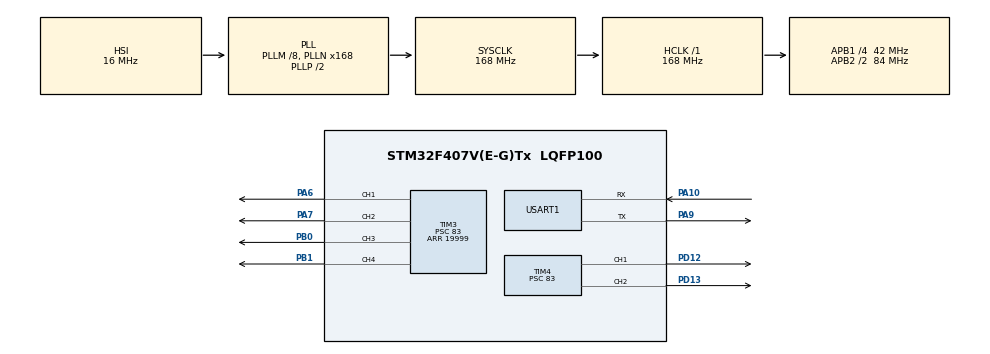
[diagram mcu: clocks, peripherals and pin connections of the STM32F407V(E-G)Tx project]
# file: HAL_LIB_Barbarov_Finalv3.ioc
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Mcu.Family=STM32F4
Mcu.Name=STM32F407V(E-G)Tx
Mcu.Package=LQFP100
NVIC.PriorityGroup=NVIC_PRIORITYGROUP_4
NVIC.USART1_IRQn=true\:0\:0\:false\:false\:true\:true\:true
PA10.Mode=Asynchronous
PA10.Signal=USART1_RX
PA6.Signal=S_TIM3_CH1
PA7.Signal=S_TIM3_CH2
PA9.Mode=Asynchronous
PA9.Signal=USART1_TX
PB0.Signal=S_TIM3_CH3
PB1.Signal=S_TIM3_CH4
PD12.Signal=S_TIM4_CH1
PD13.Signal=S_TIM4_CH2
ProjectManager.HeapSize=0x200
ProjectManager.StackSize=0x400
ProjectManager.TargetToolchain=STM32CubeIDE
RCC.48MHZClocksFreq_Value=84000000
RCC.AHBFreq_Value=168000000
RCC.APB1CLKDivider=RCC_HCLK_DIV4
RCC.APB1Freq_Value=42000000
RCC.APB1TimFreq_Value=84000000
RCC.APB2CLKDivider=RCC_HCLK_DIV2
RCC.APB2Freq_Value=84000000
RCC.APB2TimFreq_Value=168000000
RCC.CortexFreq_Value=168000000
RCC.HCLKFreq_Value=168000000
RCC.HSE_VALUE=25000000
RCC.HSI_VALUE=16000000
RCC.LSE_VALUE=32768
RCC.PLLM=8
RCC.PLLN=168
RCC.SYSCLKFreq_VALUE=168000000
RCC.SYSCLKSource=RCC_SYSCLKSOURCE_PLLCLK
RCC.VCOOutputFreq_Value=336000000
SH.S_TIM3_CH1.0=TIM3_CH1,PWM Generation1 CH1
SH.S_TIM3_CH2.0=TIM3_CH2,PWM Generation2 CH2
SH.S_TIM3_CH3.0=TIM3_CH3,PWM Generation3 CH3
SH.S_TIM3_CH4.0=TIM3_CH4,PWM Generation4 CH4
SH.S_TIM4_CH1.0=TIM4_CH1,PWM Generation1 CH1
SH.S_TIM4_CH2.0=TIM4_CH2,PWM Generation2 CH2
TIM3.Channel-PWM\ Generation1\ CH1=TIM_CHANNEL_1
TIM3.Channel-PWM\ Generation2\ CH2=TIM_CHANNEL_2
TIM3.Channel-PWM\ Generation3\ CH3=TIM_CHANNEL_3
TIM3.Channel-PWM\ Generation4\ CH4=TIM_CHANNEL_4
TIM3.Period=19999
TIM3.Prescaler=83
TIM4.Channel-PWM\ Generation1\ CH1=TIM_CHANNEL_1
TIM4.Channel-PWM\ Generation2\ CH2=TIM_CHANNEL_2
TIM4.Period=19999
TIM4.Prescaler=83
USART1.VirtualMode=VM_ASYNC
board=custom

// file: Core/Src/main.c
/* USER CODE BEGIN Header */
/**
  ******************************************************************************
  * @file           : main.c
  * @brief          : Main program body
  ******************************************************************************
  * @attention
  *
  * Copyright (c) 2022 STMicroelectronics.
  * All rights reserved.
  *
  * This software is licensed under terms that can be found in the LICENSE file
  * in the root directory of this software component.
  * If no LICENSE file comes with this software, it is provided AS-IS.
  *
  ******************************************************************************
  */
/* USER CODE END Header */
#include "main.h"

/* USER CODE BEGIN Includes */
#include "stdlib.h"
#include "string.h"
/* USER CODE END Includes */

TIM_HandleTypeDef htim3;
TIM_HandleTypeDef htim4;

UART_HandleTypeDef huart1;

/* USER CODE BEGIN PV */
uint8_t test;
int donusum,degisken;
char gelen[8],mod[1];
/* USER CODE END PV */

void SystemClock_Config(void);
static void MX_GPIO_Init(void);
static void MX_TIM3_Init(void);
static void MX_TIM4_Init(void);
static void MX_USART1_UART_Init(void);

/* USER CODE BEGIN 0 */
void dur1(){
	__HAL_TIM_SET_COMPARE(&htim3, TIM_CHANNEL_1, 1500);
	__HAL_TIM_SET_COMPARE(&htim3, TIM_CHANNEL_2, 1500);
	__HAL_TIM_SET_COMPARE(&htim3, TIM_CHANNEL_3, 1500);
	__HAL_TIM_SET_COMPARE(&htim3, TIM_CHANNEL_4, 1500);
	__HAL_TIM_SET_COMPARE(&htim4, TIM_CHANNEL_1, 1500);
	__HAL_TIM_SET_COMPARE(&htim4, TIM_CHANNEL_2, 1500);
	}
void ilr1(){
	donusum = atoi(gelen);
	__HAL_TIM_SET_COMPARE(&htim3, TIM_CHANNEL_1, 1500-abs(1500-donusum));
	__HAL_TIM_SET_COMPARE(&htim3, TIM_CHANNEL_2, donusum);
	__HAL_TIM_SET_COMPARE(&htim3, TIM_CHANNEL_3, 1500-abs(1500-donusum));
	__HAL_TIM_SET_COMPARE(&htim3, TIM_CHANNEL_4, donusum);
	__HAL_TIM_SET_COMPARE(&htim4, TIM_CHANNEL_1, 1500);
	__HAL_TIM_SET_COMPARE(&htim4, TIM_CHANNEL_2, 1500);
}
void ger1(){
	donusum = atoi(gelen);
	__HAL_TIM_SET_COMPARE(&htim3, TIM_CHANNEL_1, donusum);
	__HAL_TIM_SET_COMPARE(&htim3, TIM_CHANNEL_2, 1500-abs(1500-donusum));
	__HAL_TIM_SET_COMPARE(&htim3, TIM_CHANNEL_3, donusum);
	__HAL_TIM_SET_COMPARE(&htim3, TIM_CHANNEL_4, 1500-abs(1500-donusum));
	__HAL_TIM_SET_COMPARE(&htim4, TIM_CHANNEL_1, 1500);
	__HAL_TIM_SET_COMPARE(&htim4, TIM_CHANNEL_2, 1500);
}
void ykr1(){
	donusum = atoi(gelen);
	__HAL_TIM_SET_COMPARE(&htim3, TIM_CHANNEL_1, 1500);
	__HAL_TIM_SET_COMPARE(&htim3, TIM_CHANNEL_2, 1500);
	__HAL_TIM_SET_COMPARE(&htim3, TIM_CHANNEL_3, 1500);
	__HAL_TIM_SET_COMPARE(&htim3, TIM_CHANNEL_4, 1500);
	__HAL_TIM_SET_COMPARE(&htim4, TIM_CHANNEL_1, 1500-abs(1500-donusum));
	__HAL_TIM_SET_COMPARE(&htim4, TIM_CHANNEL_2, 1500-abs(1500-donusum));
}
void asg1(){
	donusum = atoi(gelen);
	__HAL_TIM_SET_COMPARE(&htim3, TIM_CHANNEL_1, 1500);
	__HAL_TIM_SET_COMPARE(&htim3, TIM_CHANNEL_2, 1500);
	__HAL_TIM_SET_COMPARE(&htim3, TIM_CHANNEL_3, 1500);
	__HAL_TIM_SET_COMPARE(&htim3, TIM_CHANNEL_4, 1500);
	__HAL_TIM_SET_COMPARE(&htim4, TIM_CHANNEL_1, donusum);
	__HAL_TIM_SET_COMPARE(&htim4, TIM_CHANNEL_2, donusum);
}
void sag1(){
	donusum = atoi(gelen);
	__HAL_TIM_SET_COMPARE(&htim3, TIM_CHANNEL_1, donusum);
	__HAL_TIM_SET_COMPARE(&htim3, TIM_CHANNEL_2, donusum);
	__HAL_TIM_SET_COMPARE(&htim3, TIM_CHANNEL_3, 1500-abs(1500-donusum));
	__HAL_TIM_SET_COMPARE(&htim3, TIM_CHANNEL_4, 1500-abs(1500-donusum));
	__HAL_TIM_SET_COMPARE(&htim4, TIM_CHANNEL_1, 1500);
	__HAL_TIM_SET_COMPARE(&htim4, TIM_CHANNEL_2, 1500);
}
void sol1(){
	donusum = atoi(gelen);
	__HAL_TIM_SET_COMPARE(&htim3, TIM_CHANNEL_1, 1500-abs(1500-donusum));
	__HAL_TIM_SET_COMPARE(&htim3, TIM_CHANNEL_2, 1500-abs(1500-donusum));
	__HAL_TIM_SET_COMPARE(&htim3, TIM_CHANNEL_3, donusum);
	__HAL_TIM_SET_COMPARE(&htim3, TIM_CHANNEL_4, donusum);
	__HAL_TIM_SET_COMPARE(&htim4, TIM_CHANNEL_1, 1500);
	__HAL_TIM_SET_COMPARE(&htim4, TIM_CHANNEL_2, 1500);
}
void dur2(){
	__HAL_TIM_SET_COMPARE(&htim3, TIM_CHANNEL_1, 1500);
	__HAL_TIM_SET_COMPARE(&htim3, TIM_CHANNEL_2, 1500);
	__HAL_TIM_SET_COMPARE(&htim3, TIM_CHANNEL_3, 1500);
	__HAL_TIM_SET_COMPARE(&htim3, TIM_CHANNEL_4, 1500);
	__HAL_TIM_SET_COMPARE(&htim4, TIM_CHANNEL_1, 1500);
	__HAL_TIM_SET_COMPARE(&htim4, TIM_CHANNEL_2, 1500);
	}
void ilr2(){
	donusum = atoi(gelen);
	__HAL_TIM_SET_COMPARE(&htim3, TIM_CHANNEL_1, 1500-abs(1500-donusum));
	__HAL_TIM_SET_COMPARE(&htim3, TIM_CHANNEL_2, donusum);
	__HAL_TIM_SET_COMPARE(&htim3, TIM_CHANNEL_3, 1500-abs(1500-donusum));
	__HAL_TIM_SET_COMPARE(&htim3, TIM_CHANNEL_4, donusum);
	__HAL_TIM_SET_COMPARE(&htim4, TIM_CHANNEL_1, 1550);
	__HAL_TIM_SET_COMPARE(&htim4, TIM_CHANNEL_2, 1550);
}
void ger2(){
	donusum = atoi(gelen);
	__HAL_TIM_SET_COMPARE(&htim3, TIM_CHANNEL_1, donusum);
	__HAL_TIM_SET_COMPARE(&htim3, TIM_CHANNEL_2, 1500-abs(1500-donusum));
	__HAL_TIM_SET_COMPARE(&htim3, TIM_CHANNEL_3, donusum);
	__HAL_TIM_SET_COMPARE(&htim3, TIM_CHANNEL_4, 1500-abs(1500-donusum));
	__HAL_TIM_SET_COMPARE(&htim4, TIM_CHANNEL_1, 1550);
	__HAL_TIM_SET_COMPARE(&htim4, TIM_CHANNEL_2, 1550);
}
void ykr2(){
	donusum = atoi(gelen);
	__HAL_TIM_SET_COMPARE(&htim3, TIM_CHANNEL_1, 1500);
	__HAL_TIM_SET_COMPARE(&htim3, TIM_CHANNEL_2, 1500);
	__HAL_TIM_SET_COMPARE(&htim3, TIM_CHANNEL_3, 1500);
	__HAL_TIM_SET_COMPARE(&htim3, TIM_CHANNEL_4, 1500);
	__HAL_TIM_SET_COMPARE(&htim4, TIM_CHANNEL_1, 1500-abs(1500-donusum));
	__HAL_TIM_SET_COMPARE(&htim4, TIM_CHANNEL_2, 1500-abs(1500-donusum));
}
void asg2(){
	donusum = atoi(gelen);
	__HAL_TIM_SET_COMPARE(&htim3, TIM_CHANNEL_1, 1500);
	__HAL_TIM_SET_COMPARE(&htim3, TIM_CHANNEL_2, 1500);
	__HAL_TIM_SET_COMPARE(&htim3, TIM_CHANNEL_3, 1500);
	__HAL_TIM_SET_COMPARE(&htim3, TIM_CHANNEL_4, 1500);
	__HAL_TIM_SET_COMPARE(&htim4, TIM_CHANNEL_1, donusum);
	__HAL_TIM_SET_COMPARE(&htim4, TIM_CHANNEL_2, donusum);
}
void sag2(){
	donusum = atoi(gelen);
	__HAL_TIM_SET_COMPARE(&htim3, TIM_CHANNEL_1, donusum);
	__HAL_TIM_SET_COMPARE(&htim3, TIM_CHANNEL_2, donusum);
	__HAL_TIM_SET_COMPARE(&htim3, TIM_CHANNEL_3, 1500-abs(1500-donusum));
	__HAL_TIM_SET_COMPARE(&htim3, TIM_CHANNEL_4, 1500-abs(1500-donusum));
	__HAL_TIM_SET_COMPARE(&htim4, TIM_CHANNEL_1, 1550);
	__HAL_TIM_SET_COMPARE(&htim4, TIM_CHANNEL_2, 1550);
}
void sol2(){
	donusum = atoi(gelen);
	__HAL_TIM_SET_COMPARE(&htim3, TIM_CHANNEL_1, 1500-abs(1500-donusum));
	__HAL_TIM_SET_COMPARE(&htim3, TIM_CHANNEL_2, 1500-abs(1500-donusum));
	__HAL_TIM_SET_COMPARE(&htim3, TIM_CHANNEL_3, donusum);
	__HAL_TIM_SET_COMPARE(&htim3, TIM_CHANNEL_4, donusum);
	__HAL_TIM_SET_COMPARE(&htim4, TIM_CHANNEL_1, 1550);
	__HAL_TIM_SET_COMPARE(&htim4, TIM_CHANNEL_2, 1550);
}
/* USER CODE END 0 */

int main(void)
{

  /* MCU Configuration--------------------------------------------------------*/

  /* Reset of all peripherals, Initializes the Flash interface and the Systick. */
  HAL_Init();

  /* Configure the system clock */
  SystemClock_Config();

  /* Initialize all configured peripherals */
  MX_GPIO_Init();
  MX_TIM3_Init();
  MX_TIM4_Init();
  MX_USART1_UART_Init();
  /* USER CODE BEGIN 2 */
  //NVIC_SystemReset();
  HAL_TIM_PWM_Start(&htim3, TIM_CHANNEL_1);
  HAL_TIM_PWM_Start(&htim3, TIM_CHANNEL_2);
  HAL_TIM_PWM_Start(&htim3, TIM_CHANNEL_3);
  HAL_TIM_PWM_Start(&htim3, TIM_CHANNEL_4);
  HAL_TIM_PWM_Start(&htim4, TIM_CHANNEL_1);
  HAL_TIM_PWM_Start(&htim4, TIM_CHANNEL_2);
  __HAL_TIM_SET_COMPARE(&htim3, TIM_CHANNEL_1, 1500);
  __HAL_TIM_SET_COMPARE(&htim3, TIM_CHANNEL_2, 1500);
  __HAL_TIM_SET_COMPARE(&htim3, TIM_CHANNEL_3, 1500);
  __HAL_TIM_SET_COMPARE(&htim3, TIM_CHANNEL_4, 1500);
  __HAL_TIM_SET_COMPARE(&htim4, TIM_CHANNEL_1, 1500);
  __HAL_TIM_SET_COMPARE(&htim4, TIM_CHANNEL_2, 1500);
  HAL_Delay(7000);
  /* USER CODE END 2 */

  /* Infinite loop */
  while (1)
  {

    /* USER CODE BEGIN 3 */
	  HAL_UART_Receive_IT(&huart1, (uint8_t*) gelen, 8);
	  degisken = atoi(gelen);
	  while(degisken == 1000){
		  HAL_UART_Receive_IT(&huart1, (uint8_t *)gelen, 8);
		  if(gelen[5] == 'd' && gelen[6] == 'u' && gelen[7] == 'r'){
			  dur1();
		  }
		  else if(gelen[5] == 'i' && gelen[6] == 'l' && gelen[7] == 'r') {
			  ilr1();
		  }
		  else if(gelen[5] == 'g' && gelen[6] == 'e' && gelen[7] == 'r') {
			  ger1();
		  }
		  else if(gelen[5] == 'y' && gelen[6] == 'k' && gelen[7] == 'r') {
			  ykr1();
		  }
		  else if(gelen[5] == 'a' && gelen[6] == 's' && gelen[7] == 'g') {
			  asg1();
		  }
		  else if(gelen[5] == 's' && gelen[6] == 'a' && gelen[7] == 'g') {
			  sag1();
		  }
		  else if(gelen[5] == 's' && gelen[6] == 'o' && gelen[7] == 'l') {
			  sol1();
		  }
		  else if(gelen[5] == 'c' && gelen[6] == 'i' && gelen[7] == 'k'){
			  break;
		  }
	  }

	  while(degisken == 2000){
		  HAL_UART_Receive_IT(&huart1, (uint8_t *)gelen, 8);
		  if(gelen[5] == 'd' && gelen[6] == 'u' && gelen[7] == 'r'){
			  dur2();
		  }
		  else if(gelen[5] == 'i' && gelen[6] == 'l' && gelen[7] == 'r') {
			  ilr2();
		  }
		  else if(gelen[5] == 'g' && gelen[6] == 'e' && gelen[7] == 'r') {
			  ger2();
		  }
		  else if(gelen[5] == 'y' && gelen[6] == 'k' && gelen[7] == 'r') {
			  ykr2();
		  }
		  else if(gelen[5] == 'a' && gelen[6] == 's' && gelen[7] == 'g') {
			  asg2();
		  }
		  else if(gelen[5] == 's' && gelen[6] == 'a' && gelen[7] == 'g') {
			  sag2();
		  }
		  else if(gelen[5] == 's' && gelen[6] == 'o' && gelen[7] == 'l') {
			  sol2();
		  }
		  else if(gelen[5] == 'c' && gelen[6] == 'i' && gelen[7] == 'k'){
			  break;
		  }
	  }
  }
  /* USER CODE END 3 */
}

void SystemClock_Config(void)
{
  RCC_OscInitTypeDef RCC_OscInitStruct = {0};
  RCC_ClkInitTypeDef RCC_ClkInitStruct = {0};

  /** Configure the main internal regulator output voltage
  */
  __HAL_RCC_PWR_CLK_ENABLE();
  __HAL_PWR_VOLTAGESCALING_CONFIG(PWR_REGULATOR_VOLTAGE_SCALE1);
  /** Initializes the RCC Oscillators according to the specified parameters
  * in the RCC_OscInitTypeDef structure.
  */
  RCC_OscInitStruct.OscillatorType = RCC_OSCILLATORTYPE_HSI;
  RCC_OscInitStruct.HSIState = RCC_HSI_ON;
  RCC_OscInitStruct.HSICalibrationValue = RCC_HSICALIBRATION_DEFAULT;
  RCC_OscInitStruct.PLL.PLLState = RCC_PLL_ON;
  RCC_OscInitStruct.PLL.PLLSource = RCC_PLLSOURCE_HSI;
  RCC_OscInitStruct.PLL.PLLM = 8;
  RCC_OscInitStruct.PLL.PLLN = 168;
  RCC_OscInitStruct.PLL.PLLP = RCC_PLLP_DIV2;
  RCC_OscInitStruct.PLL.PLLQ = 4;
  if (HAL_RCC_OscConfig(&RCC_OscInitStruct) != HAL_OK)
  {
    Error_Handler();
  }
  /** Initializes the CPU, AHB and APB buses clocks
  */
  RCC_ClkInitStruct.ClockType = RCC_CLOCKTYPE_HCLK|RCC_CLOCKTYPE_SYSCLK
                              |RCC_CLOCKTYPE_PCLK1|RCC_CLOCKTYPE_PCLK2;
  RCC_ClkInitStruct.SYSCLKSource = RCC_SYSCLKSOURCE_PLLCLK;
  RCC_ClkInitStruct.AHBCLKDivider = RCC_SYSCLK_DIV1;
  RCC_ClkInitStruct.APB1CLKDivider = RCC_HCLK_DIV4;
  RCC_ClkInitStruct.APB2CLKDivider = RCC_HCLK_DIV2;

  if (HAL_RCC_ClockConfig(&RCC_ClkInitStruct, FLASH_LATENCY_5) != HAL_OK)
  {
    Error_Handler();
  }
}

static void MX_TIM3_Init(void)
{

  TIM_MasterConfigTypeDef sMasterConfig = {0};
  TIM_OC_InitTypeDef sConfigOC = {0};

  htim3.Instance = TIM3;
  htim3.Init.Prescaler = 83;
  htim3.Init.CounterMode = TIM_COUNTERMODE_UP;
  htim3.Init.Period = 19999;
  htim3.Init.ClockDivision = TIM_CLOCKDIVISION_DIV1;
  htim3.Init.AutoReloadPreload = TIM_AUTORELOAD_PRELOAD_DISABLE;
  if (HAL_TIM_PWM_Init(&htim3) != HAL_OK)
  {
    Error_Handler();
  }
  sMasterConfig.MasterOutputTrigger = TIM_TRGO_RESET;
  sMasterConfig.MasterSlaveMode = TIM_MASTERSLAVEMODE_DISABLE;
  if (HAL_TIMEx_MasterConfigSynchronization(&htim3, &sMasterConfig) != HAL_OK)
  {
    Error_Handler();
  }
  sConfigOC.OCMode = TIM_OCMODE_PWM1;
  sConfigOC.Pulse = 0;
  sConfigOC.OCPolarity = TIM_OCPOLARITY_HIGH;
  sConfigOC.OCFastMode = TIM_OCFAST_DISABLE;
  if (HAL_TIM_PWM_ConfigChannel(&htim3, &sConfigOC, TIM_CHANNEL_1) != HAL_OK)
  {
    Error_Handler();
  }
  if (HAL_TIM_PWM_ConfigChannel(&htim3, &sConfigOC, TIM_CHANNEL_2) != HAL_OK)
  {
    Error_Handler();
  }
  if (HAL_TIM_PWM_ConfigChannel(&htim3, &sConfigOC, TIM_CHANNEL_3) != HAL_OK)
  {
    Error_Handler();
  }
  if (HAL_TIM_PWM_ConfigChannel(&htim3, &sConfigOC, TIM_CHANNEL_4) != HAL_OK)
  {
    Error_Handler();
  }
  HAL_TIM_MspPostInit(&htim3);

}

static void MX_TIM4_Init(void)
{

  TIM_MasterConfigTypeDef sMasterConfig = {0};
  TIM_OC_InitTypeDef sConfigOC = {0};

  htim4.Instance = TIM4;
  htim4.Init.Prescaler = 83;
  htim4.Init.CounterMode = TIM_COUNTERMODE_UP;
  htim4.Init.Period = 19999;
  htim4.Init.ClockDivision = TIM_CLOCKDIVISION_DIV1;
  htim4.Init.AutoReloadPreload = TIM_AUTORELOAD_PRELOAD_DISABLE;
  if (HAL_TIM_PWM_Init(&htim4) != HAL_OK)
  {
    Error_Handler();
  }
  sMasterConfig.MasterOutputTrigger = TIM_TRGO_RESET;
  sMasterConfig.MasterSlaveMode = TIM_MASTERSLAVEMODE_DISABLE;
  if (HAL_TIMEx_MasterConfigSynchronization(&htim4, &sMasterConfig) != HAL_OK)
  {
    Error_Handler();
  }
  sConfigOC.OCMode = TIM_OCMODE_PWM1;
  sConfigOC.Pulse = 0;
  sConfigOC.OCPolarity = TIM_OCPOLARITY_HIGH;
  sConfigOC.OCFastMode = TIM_OCFAST_DISABLE;
  if (HAL_TIM_PWM_ConfigChannel(&htim4, &sConfigOC, TIM_CHANNEL_1) != HAL_OK)
  {
    Error_Handler();
  }
  if (HAL_TIM_PWM_ConfigChannel(&htim4, &sConfigOC, TIM_CHANNEL_2) != HAL_OK)
  {
    Error_Handler();
  }
  HAL_TIM_MspPostInit(&htim4);

}

static void MX_USART1_UART_Init(void)
{

  huart1.Instance = USART1;
  huart1.Init.BaudRate = 115200;
  huart1.Init.WordLength = UART_WORDLENGTH_8B;
  huart1.Init.StopBits = UART_STOPBITS_1;
  huart1.Init.Parity = UART_PARITY_NONE;
  huart1.Init.Mode = UART_MODE_TX_RX;
  huart1.Init.HwFlowCtl = UART_HWCONTROL_NONE;
  huart1.Init.OverSampling = UART_OVERSAMPLING_16;
  if (HAL_UART_Init(&huart1) != HAL_OK)
  {
    Error_Handler();
  }

}

static void MX_GPIO_Init(void)
{

  /* GPIO Ports Clock Enable */
  __HAL_RCC_GPIOA_CLK_ENABLE();
  __HAL_RCC_GPIOB_CLK_ENABLE();
  __HAL_RCC_GPIOD_CLK_ENABLE();

}

void Error_Handler(void)
{
  __disable_irq();
  while (1)
  {
  }
}
